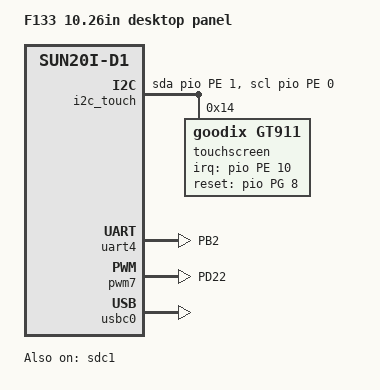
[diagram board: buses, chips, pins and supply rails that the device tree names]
// SPDX-License-Identifier: GPL-2.0
/*
 * F133-B (D1s) 10.26" masaustu panel karti (312-06001-02) - RAM'den acilis (adim 1).
 * Kaynak degerler: outputs\linux-ram-test\melis-config.fex (script.bin dokumu).
 * Taban: Tina linux-5.4 sun20iw1p1.dtsi + F133 evb1 board.dts bicimi.
 *
 * Adim 1 kurallari: SPI NOR KAPALI (flash'a hicbir yol yok), DVFS yok.
 */

/dts-v1/;

#include "sun20iw1p1.dtsi"

/ {
	model = "F133 10.26in desktop panel";
	/* "allwinner,sun20i-d1": upstream OpenSBI'nin D1 platform kodunu secmesi icin */
	compatible = "allwinner,d1s", "allwinner,sun20i-d1", "arm,sun20iw1p1", "allwinner,sun20iw1p1";

	chosen {
		/* initramfs kernel'e gomulu; Tina dtsi'deki harici initrd adresleri silinir */
		/delete-property/ linux,initrd-start;
		/delete-property/ linux,initrd-end;
		bootargs = "clk_ignore_unused ignore_loglevel fbcon=rotate:1 console=tty0 loglevel=8 rdinit=/init cma=12M";
		stdout-path = "serial4:115200n8";
	};

	/*
	 * 0x40000000-0x401FFFFF: OpenSBI (0x40000000).
	 * Linux 5.4 kernel yukleme adresinin (0x40200000) altini memblock'tan cikarmiyor; burada no-map ile ayrilir.
	 */
	reserved-memory {
		#address-cells = <2>;
		#size-cells = <2>;
		ranges;

		sbi_and_log@40000000 {
			reg = <0x0 0x40000000 0x0 0x200000>;
			no-map;
		};

		/* OpenSBI hata ayiklama RAM gunlugu (03_patch_opensbi_debug_v2.py) */
		f133_ramlog@43c00000 {
			reg = <0x0 0x43c00000 0x0 0x100000>;
			no-map;
		};
	};
};

/*
 * Upstream OpenSBI icin: Tina dtsi'de CLINT yok, PLIC yalniz "riscv,plic0".
 * Linux 5.4 bu CLINT dugumunu kullanmaz (zamanlayici SBI uzerinden), PLIC'i "riscv,plic0" ile eslesir.
 */
&soc {
	clint: timer@14000000 {
		compatible = "allwinner,sun20i-d1-clint", "thead,c900-clint";
		reg = <0x0 0x14000000 0x0 0xc000>;
		interrupts-extended = <&CPU0_intc 3>, <&CPU0_intc 7>;
	};
};

&plic0 {
	compatible = "thead,c900-plic", "riscv,plic0";
};

/* 64 MB DDR2 (xfel alias testiyle dogrulandi) */
&{/memory@40000000} {
	reg = <0x0 0x40000000 0x0 0x4000000>;
};

/* DVFS yok: PWM regulatoru tanimsiz, OPP tablosu kullanilmaz */
&CPU0 {
	/delete-property/ operating-points-v2;
};

&pio {
	/* UART4 yalniz TX (PB2). PB3 = lcd_avdd oldugu icin RX baglanmaz. */
	uart4_pins_a: uart4_pins@0 {
		pins = "PB2";
		function = "uart4";
		drive-strength = <10>;
		bias-pull-up;
	};
	uart4_pins_b: uart4_pins@1 {
		pins = "PB2";
		function = "gpio_in";
	};

	twi1_pins_a: twi1@0 {
		pins = "PE0", "PE1";		/* SCL, SDA; dis pull-up var */
		function = "twi1";
		drive-strength = <10>;
	};
	twi1_pins_b: twi1@1 {
		pins = "PE0", "PE1";
		function = "gpio_in";
	};

	sdc1_pins_a: sdc1@0 {
		pins = "PG0", "PG1", "PG2", "PG3", "PG4", "PG5";
		function = "sdc1";
		drive-strength = <30>;
		bias-pull-up;
	};
	sdc1_pins_b: sdc1@1 {
		pins = "PG0", "PG1", "PG2", "PG3", "PG4", "PG5";
		function = "gpio_in";
	};

	/* sdc0 = SD kart yuvasi (fex [sdc0], algilama PF6) */
	sdc0_pins_a: sdc0@0 {
		pins = "PF0", "PF1", "PF2", "PF3", "PF4", "PF5";
		function = "sdc0";
		drive-strength = <30>;
		bias-pull-up;
		power-source = <3300>;
	};
	sdc0_pins_b: sdc0@1 {
		pins = "PF0", "PF1", "PF2", "PF3", "PF4", "PF5";
		function = "sdc0";
		drive-strength = <30>;
		bias-pull-up;
		power-source = <1800>;
	};
	sdc0_pins_c: sdc0@2 {
		pins = "PF0", "PF1", "PF2", "PF3", "PF4", "PF5";
		function = "gpio_in";
	};
	sdc0_pins_d: sdc0@3 {
		pins = "PF2", "PF4";
		function = "uart0";
		drive-strength = <10>;
		bias-pull-up;
	};
	sdc0_pins_e: sdc0@4 {
		pins = "PF0", "PF1", "PF3", "PF5";
		function = "jtag";
		drive-strength = <10>;
		bias-pull-up;
	};

	/* sdc2 kullanilmiyor (PC2-PC7 = SPI NOR), yalniz dtsi referanslari icin */
	sdc2_pins_a: sdc2@0 {
		pins = "PC2", "PC3", "PC4", "PC5", "PC6", "PC7";
		function = "sdc2";
		drive-strength = <30>;
		bias-pull-up;
	};
	sdc2_pins_b: sdc2@1 {
		pins = "PC2", "PC3", "PC4", "PC5", "PC6", "PC7";
		function = "gpio_in";
	};

	pwm7_pin_a: pwm7@0 {
		pins = "PD22";
		function = "pwm7";
		drive-strength = <10>;
		bias-pull-up;
	};
	pwm7_pin_b: pwm7@1 {
		pins = "PD22";
		function = "gpio_in";
	};
};

&uart0 {
	status = "disabled";
};

&uart4 {
	pinctrl-names = "default", "sleep";
	pinctrl-0 = <&uart4_pins_a>;
	pinctrl-1 = <&uart4_pins_b>;
	status = "okay";
};

/* ---- Ekran: sunxi disp2 + MIPI-DSI ---- */
&disp {
	disp_init_enable         = <1>;
	disp_mode                = <0>;

	screen0_output_type      = <1>;	/* LCD */
	screen0_output_mode      = <4>;

	screen1_output_type      = <0>;
	screen1_output_mode      = <4>;

	dev0_output_type         = <1>;
	dev0_output_mode         = <4>;
	dev0_screen_id           = <0>;
	dev0_do_hpd              = <0>;

	def_output_dev           = <0>;

	disp_rotation_used       = <0>;	/* 600x1600 dikey; yatay cevirme kullanici alaninda */
	fb0_format               = <0>;	/* ARGB8888 */
	fb0_buffer_num           = <1>;	/* tek tampon: 600*1600*4 = 3.84 MB CMA */
	fb1_format               = <0>;
	fb1_width                = <0>;
	fb1_height               = <0>;
	chn_cfg_mode             = <1>;

	disp_para_zone           = <1>;
};

&lcd0 {
	lcd_used               = <1>;
	lcd_driver_name        = "he0801a068";
	lcd_backlight          = <50>;
	lcd_if                 = <4>;	/* DSI */
	lcd_x                  = <600>;
	lcd_y                  = <1600>;
	lcd_width              = <150>;
	lcd_height             = <94>;
	lcd_dclk_freq          = <60>;

	lcd_pwm_used           = <1>;
	lcd_pwm_ch             = <7>;
	lcd_pwm_freq           = <50000>;
	lcd_pwm_pol            = <1>;
	lcd_pwm_max_limit      = <255>;

	lcd_hbp                = <58>;
	lcd_ht                 = <724>;
	lcd_hspw               = <8>;
	lcd_vbp                = <16>;
	lcd_vt                 = <1636>;
	lcd_vspw               = <4>;

	lcd_dsi_if             = <0>;	/* video mode */
	lcd_dsi_lane           = <4>;
	lcd_dsi_format         = <0>;
	lcd_dsi_te             = <0>;
	lcd_frm                = <0>;
	lcd_io_phase           = <0x0000>;
	lcd_gamma_en           = <0>;
	lcd_bright_curve_en    = <0>;
	lcd_cmap_en            = <0>;
	lcd_rb_swap            = <0>;
	deu_mode               = <0>;
	lcdgamma4iep           = <22>;
	smart_color            = <90>;

	lcd_bl_en              = <&pio PG 15 GPIO_ACTIVE_HIGH>;
	lcd_gpio_0             = <&pio PE 9 GPIO_ACTIVE_HIGH>;	/* lcd_reset */
	lcd_gpio_1             = <&pio PD 19 GPIO_ACTIVE_HIGH>;	/* lcd_power */
	lcd_gpio_2             = <&pio PB 3 GPIO_ACTIVE_HIGH>;	/* lcd_avdd */

	pinctrl-0 = <&dsi4lane_pins_a>;
	pinctrl-1 = <&dsi4lane_pins_b>;
};

/* Arka isik PWM7 = PD22 */
&pwm7 {
	pinctrl-names = "active", "sleep";
	pinctrl-0 = <&pwm7_pin_a>;
	pinctrl-1 = <&pwm7_pin_b>;
	status = "okay";
};

/* ---- Dokunmatik: Goodix GT913 ----
 * 24. deneme: Tina TWI1 denetleyicisi PE0/PE1'de "engine-mode: xfer timeout" veriyor (NACK degil, hat calismiyor).
 * FEL'de ayni pinler GPIO bit-bang ile 0x14'te yanit vermisti -> i2c-gpio kullanilir, TWI1 kapali.
 */
&twi1 {
	status = "disabled";
};

/ {
	i2c_touch: i2c-gpio-touch {
		compatible = "i2c-gpio";
		sda-gpios = <&pio PE 1 (GPIO_ACTIVE_HIGH | GPIO_OPEN_DRAIN)>;
		scl-gpios = <&pio PE 0 (GPIO_ACTIVE_HIGH | GPIO_OPEN_DRAIN)>;
		i2c-gpio,delay-us = <5>;	/* ~100 kHz */
		#address-cells = <1>;
		#size-cells = <0>;

		touchscreen@14 {
			compatible = "goodix,gt911";
			reg = <0x14>;
			interrupt-parent = <&pio>;
			interrupts = <PE 10 IRQ_TYPE_EDGE_FALLING>;
			irq-gpios = <&pio PE 10 GPIO_ACTIVE_HIGH>;
			reset-gpios = <&pio PG 8 GPIO_ACTIVE_HIGH>;
			touchscreen-inverted-x;
		};
	};
};

/* ---- Wi-Fi: SV6256P @ SDIO sdc1 (ssv6x5x, kernel disi modul) ---- */
&sdc1 {
	bus-width = <4>;
	no-mmc;
	no-sd;
	non-removable;
	cap-sd-highspeed;
	cap-sdio-irq;
	keep-power-in-suspend;
	ignore-pm-notify;
	max-frequency = <50000000>;
	status = "okay";
};

/* ---- SD kart yuvasi (FEL kurtarma karti takili; yalniz okunacak) ---- */
&sdc0 {
	bus-width = <4>;
	cd-gpios = <&pio PF 6 (GPIO_ACTIVE_LOW | GPIO_PULL_UP)>;
	cd-used-24M;
	cap-sd-highspeed;
	no-sdio;
	no-mmc;
	max-frequency = <50000000>;
	ctl-spec-caps = <0x8>;
	/* 7. deneme sonrasi: Linux SD karti baslatinca watchdog reset sonrasi BROM FEL kartini okuyamiyor olabilir */
	status = "disabled";
};

&sdc2 {
	status = "disabled";
};

/* ---- USB0: aygit modu (FEL kablosu uzerinden seri konsol + ag) ---- */
&usbc0 {
	usb_port_type = <0>;	/* 0: device */
	usb_detect_type = <0>;	/* algilama yok */
	/delete-property/ usb_id_gpio;
	/delete-property/ usb_det_vbus_gpio;
	status = "okay";
};

/* ---- Adim 1: SPI NOR'a erisim YOK ---- */
&spi0 {
	status = "disabled";
};

/*
 * ---- F133 (D1s) icin kapatilan D1 bloklari ----
 * sun20iw1p1.dtsi D1 icin; F133'te HDMI, EMAC/GMAC, HiFi4 DSP, TV decoder yok ya da kartta kullanilmiyor.
 * Var olmayan bloga erisim veri yolunu kilitleyebilir (6-13. denemelerde SoC tamamen kilitleniyordu).
 * Kamera (vin/csi/isp), deinterlace, LEDC, LRADC tus, IR, spdif ve HDMI ses de simdilik gereksiz.
 */
&hdmi { status = "disabled"; };
&hdmiaudio { status = "disabled"; };
&gmac0 { status = "disabled"; };
&sunxi_rpaf_dsp0 { status = "disabled"; };
&tvd { status = "disabled"; };
&tvd0 { status = "disabled"; };
&di { status = "disabled"; };
&vind0 { status = "disabled"; };
&csi0 { status = "disabled"; };
&isp0 { status = "disabled"; };
&isp1 { status = "disabled"; };
&scaler0 { status = "disabled"; };
&scaler1 { status = "disabled"; };
&sensor0 { status = "disabled"; };
&sensor1 { status = "disabled"; };
&vinc0 { status = "disabled"; };
&vinc1 { status = "disabled"; };
&ledc { status = "disabled"; };
&keyboard0 { status = "disabled"; };
&s_cir0 { status = "disabled"; };
&ir1 { status = "disabled"; };
&soundspdif { status = "disabled"; };

/*
 * 18. deneme: kilitlenme PLIC baslatmasinin hemen ardindan (~init_IRQ/time_init). Tina'nin sun4i zamanlayicisi
 * watchdog ile ayni blogu (0x02050000) kullaniyor ve SBI zamanlayicisindan yuksek oncelikli. Kapatilir;
 * Linux tikleri OpenSBI'nin SBI zamanlayicisindan alir.
 */
&soc_timer0 {
	status = "disabled";
};

/* 27. deneme: USB0 aygit modunda baglanti yok. USB0 PHY'si OTG'ye yonlendirilmeli (0x04100420=1, FEL'deki deger);
 * USB0'in ana makine tarafi (EHCI0/OHCI0) kapali. */
&ehci0 { status = "disabled"; };
&ohci0 { status = "disabled"; };

/* 34. deneme: ~9. sn'den sonra hicbir harici kesme islenmiyor (PLIC'te 22/45/57/108 bekliyor).
 * O aralikta baslayan RTC (kaynak 160) ve cedar VE suruculeri kapatilir (ikisi de simdilik gereksiz). */
&rtc { status = "disabled"; };
&ve { status = "disabled"; };
